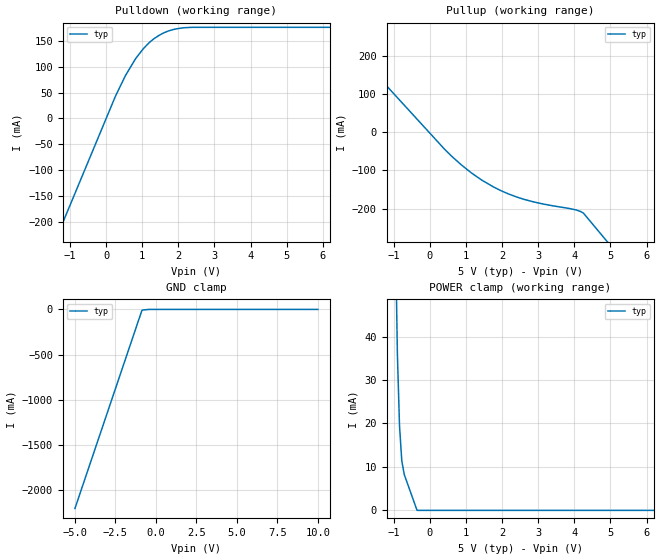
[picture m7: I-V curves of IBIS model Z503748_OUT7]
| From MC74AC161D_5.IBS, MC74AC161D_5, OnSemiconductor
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| (C) COPYRIGHT 1993-2000
| MENTOR GRAPHICS CORPORATION
| ICX STANDARD LIBRARY, ICX PROJECT MODELING,
| ICX CUSTOM MODELING, ICX VENDOR MODEL
| ALL RIGHTS RESERVED.
| THE FOLLOWING ARE TRADEMARKS OR SERVICE MARKS OF
| MENTOR GRAPHICS CORPORATION:ICX (R), ICX STANDARD
| LIBRARY(R), ICX PROJECT MODELING(R), ICX CUSTOM
| MODELING(R), qualityIBIS(TM), MODELVIEWER(TM),
| AND MODELEDITOR(TM)
| ALL COPIES OF SOFTWARE, INCLUDING BUT NOT LIMITED TO
| ANY MODIFICATIONS, ENHANCEMENTS OR DERIVATIVE WORKS,
| MUST CONTAIN ALL MENTOR GRAPHICS CORPORATION'S
| NOTICES AND LEGENDS, INCLUDING THOSE EMBEDDED IN
| SOFTWARE AND THOSE AFFIXED TO SOFTWARE MEDIUM
| AND CONTAINER, AS RECEIVED FROM MENTOR GRAPHICS
| CORPORATION.
| Model Application Version 1.89 2/18/99.
[Model] Z503748_OUT7
Model_type Output
Vref=0.000V
Rref=500.0ohms
Cref=50.00pF
Vmeas=2.500V
C_comp 8.000pF NA NA
| variable typ   min   max
[Voltage Range] 5.000V NA NA
[POWER Clamp Reference] 5.000V NA NA
[Pullup Reference] 5.000V NA NA
[Pulldown Reference] 0.000V NA NA
[GND Clamp Reference] 0.000V NA NA
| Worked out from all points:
|   slope of the pulldown table from 0 to 0.75 V, typ, clamps not added: 6.93 ohm
|   slope of the pullup table from 0 to 0.75 V, typ, clamps not added: 10.3 ohm
[GND Clamp]
-5V       -2.205A    NA         NA
-883.7mV  -21.48mA   NA         NA
-848.1mV  -7.351mA   NA         NA
-424.1mV  0A         NA         NA
10V       0A         NA         NA
[Pulldown]
-5V       -839.3mA   NA         NA
259.4mV   43.18mA    NA         NA
537.3mV   83.11mA    NA         NA
818.6mV   115.9mA    NA         NA
1.04V     135.7mA    NA         NA
1.318V    153.9mA    NA         NA
1.47V     160.9mA    NA         NA
1.72V     169.1mA    NA         NA
2.075V    174.8mA    NA         NA
2.388V    176.3mA    NA         NA
10V       176.3mA    NA         NA
[Pullup]
-5V       513.8mA    NA         NA
413mV     -45.44mA   NA         NA
870mV     -85.67mA   NA         NA
1.445V    -126.1mA   NA         NA
1.763V    -143.6mA   NA         NA
2.183V    -162.1mA   NA         NA
2.862V    -182.5mA   NA         NA
4.06V     -204mA     NA         NA
4.252V    -212mA     NA         NA
10V       -862.7mA   NA         NA
[POWER Clamp]
-5V       3.053A     NA         NA
-1.006V   91.15mA    NA         NA
-899mV    35.9mA     NA         NA
-840mV    19.4mA     NA         NA
-777mV    11.37mA    NA         NA
-709mV    8.241mA    NA         NA
-354.5mV  0A         NA         NA
10V       0A         NA         NA
[Ramp]
| variable typ min max
dV/dt_r 2.958/267.8p NA NA
dV/dt_f 2.958/324.9p NA NA
R_load = 500.0Ohms
